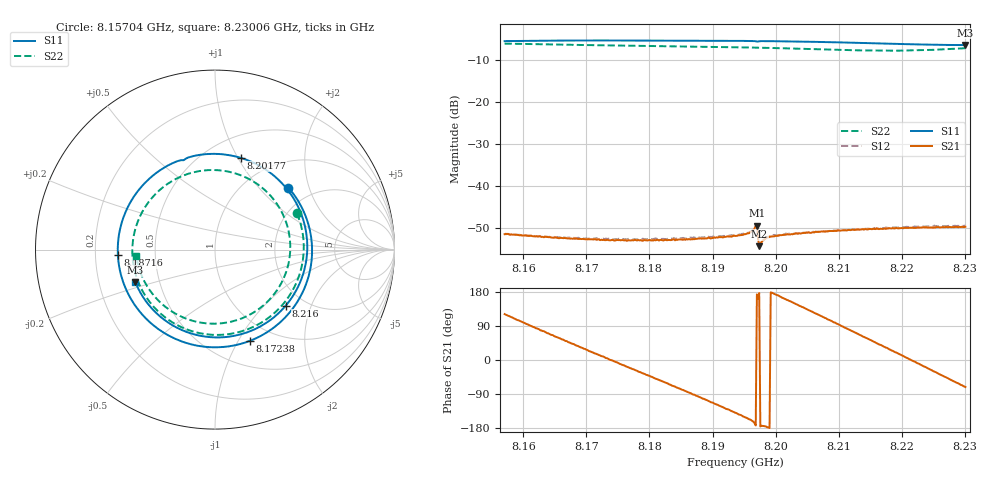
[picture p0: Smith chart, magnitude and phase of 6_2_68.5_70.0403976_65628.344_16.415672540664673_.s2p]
#  HZ  S  RI  R  50.00
! Rohde & Schwarz Vector Network Analyzer
! Rohde-Schwarz,ZNB20-2Port,1311601062101988,3.16
! Created: UTC 3/20/2024, 5:03:58 PM
! freq[Hz]  re:S11  im:S11  re:S21  im:S21  re:S12  im:S12  re:S22  im:S22
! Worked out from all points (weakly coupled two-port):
!   401 points, 8.15704 GHz to 8.23006 GHz, reference 50 ohm
!   highest |S21| = -49.46 dB at 8.19702 GHz (marker M1); lowest = -54.3 dB at 8.19739 GHz (marker M2)
!   lowest |S11| = -6.4 dB at 8.23006 GHz (marker M3), VSWR 2.84, Z = 18.2 - j8.65 ohm
!   |S11| at or under -10 dB: nowhere
!   |S22| runs from -7.7 to -6.0 dB; largest |S21 - S12| = 0.00023
!   S11 on the Smith chart (normalised r, x): 8.15704 GHz: 1.52, +1.47; 8.17238 GHz: 0.77, -1.12; 8.18716 GHz: 0.30, -0.03; 8.20177 GHz: 0.73, +1.03; 8.216 GHz: 1.61, -1.34; 8.23006 GHz: 0.36, -0.17
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8.157044e9  0.4082 0.346  -0.00138 0.00228  -0.00139 0.0023  0.4564 0.2029
8.16325e9  0.5399 -0.0385  0.000587 0.00237  0.000603 0.00242  0.4615 -0.165
8.169274e9  0.3712 -0.3975  0.00197 0.00125  0.00199 0.00127  0.2291 -0.4228
8.172377e9  0.1939 -0.5086  0.00226 0.000402  0.0023 0.000417  0.058 -0.4728
8.176941e9  -0.1133 -0.5324  0.00209 -0.000824  0.00216 -0.000866  -0.1953 -0.4281
8.181504e9  -0.3855 -0.3831  0.00136 -0.00178  0.00138 -0.00189  -0.3861 -0.2606
8.187163e9  -0.5411 -0.0308  -7.58e-05 -0.00232  -0.000142 -0.00242  -0.4582 0.0404
8.190266e9  -0.509 0.1825  -0.00103 -0.00221  -0.0011 -0.00221  -0.4082 0.2045
8.193552e9  -0.3862 0.3757  -0.00192 -0.00167  -0.00203 -0.00169  -0.2925 0.345
8.196655e9  -0.2024 0.495  -0.00304 -0.000711  -0.00317 -0.000622  -0.1391 0.4252
8.19702e9  -0.1766 0.498  -0.00334 0.000401  -0.00339 0.000537  -0.1193 0.4306
8.197386e9  -0.161 0.5078  -0.00191 0.000108  -0.00196 0.000212  -0.0993 0.4352
8.197751e9  -0.135 0.5174  -0.00212 -0.000251  -0.00217 -0.00014  -0.0789 0.4387
8.201767e9  0.1466 0.5102  -0.00247 0.000963  -0.00248 0.00107  0.1458 0.4132
8.205782e9  0.3832 0.3586  -0.00171 0.00223  -0.00166 0.0023  0.33 0.275
8.210894e9  0.514 0.0266  0.000232 0.00296  0.00027 0.00296  0.4187 -0.0113
8.216005e9  0.3942 -0.3124  0.00223 0.00217  0.0023 0.00217  0.2878 -0.2944
8.218013e9  0.2856 -0.4081  0.00278 0.00148  0.00285 0.00142  0.1823 -0.3683
8.220933e9  0.0896 -0.4835  0.00316 0.000249  0.00325 0.000115  -0.00352 -0.4128
8.223672e9  -0.1071 -0.4745  0.00305 -0.000994  0.00306 -0.00119  -0.1829 -0.3755
8.22714e9  -0.3251 -0.3553  0.00221 -0.00237  0.00215 -0.00254  -0.3644 -0.2251
8.230061e9  -0.4431 -0.183  0.00105 -0.0031  0.000888 -0.00325  -0.4386 -0.0369
